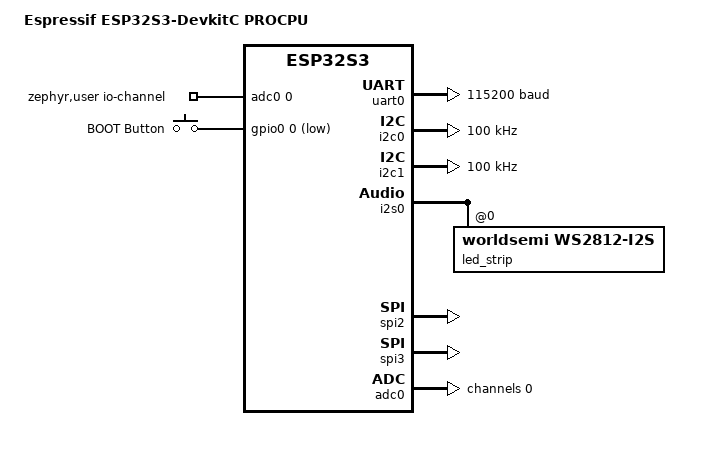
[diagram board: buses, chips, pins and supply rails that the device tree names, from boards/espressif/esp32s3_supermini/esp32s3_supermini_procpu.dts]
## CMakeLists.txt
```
# Copyright (c) 2021 Nordic Semiconductor ASA
# SPDX-License-Identifier: Apache-2.0
#
# This CMake file is picked by the Zephyr build system because it is defined
# as the module CMake entry point (see zephyr/module.yml).
cmake_minimum_required(VERSION 3.22)

# Set board
#set(BOARD my_esp32_devkitc_wroom/esp32/procpu)
set(BOARD esp32s3_supermini/esp32s3/procpu)
set(BOARD_ROOT ${CMAKE_CURRENT_SOURCE_DIR})

# Add zephyr base path
find_package(Zephyr REQUIRED HINTS $ENV{ZEPHYR_BASE})

# Add project name
project(wicked_bubble_fw)

# How to add message on build
#message(STATUS "ZEPHYR_BASE = ${ZEPHYR_BASE}")

# Add include path
zephyr_include_directories(include)

target_sources(app PRIVATE
                src/main.c
                src/thread_msg/message_hmi_main.c
                src/thread_msg/message_main_ledrgb.c
                src/hmi/uart_cmd.c
                src/led_rgb/led_rgb_strip.c
)

target_include_directories(app PRIVATE  src
                                        src/hmi
                                        src/thread_msg
                                        src/led_rgb
)
```

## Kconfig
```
# Copyright (c) 2021 Nordic Semiconductor ASA
# SPDX-License-Identifier: Apache-2.0
#
# This Kconfig file is picked by the Zephyr build system because it is defined
# as the module Kconfig entry point (see zephyr/module.yml). You can browse
# module options by going to Zephyr -> Modules in Kconfig.

source "Kconfig.zephyr"

menu "WS2812 Sample Configuration"

config SAMPLE_LED_UPDATE_DELAY
	int "Delay between LED updates in ms"
	default 5
	help
	  Delay between LED updates in ms.

config SAMPLE_LED_BRIGHTNESS
	int "LED brightness"
	default 5
	range 1 255
	help
	  Brightness level of each LED. Defaults to a low value to make
	  it easier to distinguish colors.

endmenu
```

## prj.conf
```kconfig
# Copyright (c) 2021 Nordic Semiconductor ASA
# SPDX-License-Identifier: Apache-2.0
#
# This file contains selected Kconfig options for the application.

# Config LED GPIO
CONFIG_GPIO=y

# Config ADC
CONFIG_ADC=y

# Config UART HMI
CONFIG_SERIAL=y
CONFIG_UART_INTERRUPT_DRIVEN=y
CONFIG_RING_BUFFER=y

# Bootloader configuration
CONFIG_BOOTLOADER_MCUBOOT=n

CONFIG_I2S=y
# ESP32-S3 SuperMini specific configuration
# Flash size: 4MB
# CONFIG_ESPTOOLPY_FLASHSIZE_4MB=y

# # Flash mode: QIO mode (matches schematic - 4 data lines)
# CONFIG_ESPTOOLPY_FLASHMODE_QIO=y

# # Flash frequency: 40MHz (conservative, reliable setting)
# CONFIG_ESPTOOLPY_FLASHFREQ_40M=y

# # Simple boot configuration for development (no secure boot)
# CONFIG_ESP_SIMPLE_BOOT=y

# # Disable secure features that might cause SHA-256 issues
# CONFIG_ESP32_EFUSE_VIRTUAL=y

# Log configuration
CONFIG_LOG=y
CONFIG_LOG_MODE_DEFERRED=y         # Recommended for performance
CONFIG_LOG_BACKEND_UART=y          # Sends logs over UART

CONFIG_LED_STRIP=y
CONFIG_LED_STRIP_LOG_LEVEL_DBG=y

# LED sample configuration
# CONFIG_SAMPLE_LED_UPDATE_DELAY=250
# CONFIG_SAMPLE_LED_BRIGHTNESS=50
```

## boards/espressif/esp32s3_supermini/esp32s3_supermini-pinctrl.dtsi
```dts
/*
 * Copyright (c) 2024 Espressif Systems (Shanghai) Co., Ltd.
 *
 * SPDX-License-Identifier: Apache-2.0
 */

#include <zephyr/dt-bindings/pinctrl/esp-pinctrl-common.h>
#include <dt-bindings/pinctrl/esp32s3-pinctrl.h>
#include <zephyr/dt-bindings/pinctrl/esp32s3-gpio-sigmap.h>

&pinctrl {
	uart0_default: uart0_default {
		group1 {
			pinmux = <UART0_TX_GPIO43>;
			output-high;
		};
		group2 {
			pinmux = <UART0_RX_GPIO44>;
			bias-pull-up;
		};
	};

	uart1_default: uart1_default {
		group1 {
			pinmux = <UART1_TX_GPIO17>;
			output-high;
		};
		group2 {
			pinmux = <UART1_RX_GPIO18>;
			bias-pull-up;
		};
	};

	i2c0_default: i2c0_default {
	};

	i2c1_default: i2c1_default {
		group1 {
			pinmux = <I2C1_SDA_GPIO4>,
				 <I2C1_SCL_GPIO5>;
			bias-pull-up;
			drive-open-drain;
			output-high;
		};
	};

	i2s0_default: i2s0_default {
		group1 {
			pinmux = <I2S0_MCLK_GPIO4>,
				 <I2S0_O_WS_GPIO5>,
				 <I2S0_O_BCK_GPIO6>,
				 <I2S0_O_SD_GPIO38>,
				 <I2S0_I_WS_GPIO15>,
				 <I2S0_I_BCK_GPIO16>;
			output-enable;
		};
		group2 {
			pinmux = <I2S0_I_SD_GPIO17>;
			input-enable;
		};
	};

	i2s1_default: i2s1_default {
		group1 {
			pinmux = <I2S1_MCLK_GPIO18>,
				 <I2S1_O_WS_GPIO8>,
				 <I2S1_O_BCK_GPIO3>,
				 <I2S1_O_SD_GPIO9>,
				 <I2S1_I_WS_GPIO10>,
				 <I2S1_I_BCK_GPIO11>;
			output-enable;
		};
		group2 {
			pinmux = <I2S1_I_SD_GPIO12>;
			input-enable;
		};
	};

	spim2_default: spim2_default {
		group1 {
			pinmux = <SPIM2_MISO_GPIO13>,
				 <SPIM2_SCLK_GPIO12>,
				 <SPIM2_CSEL_GPIO10>;
		};
		group2 {
			pinmux = <SPIM2_MOSI_GPIO11>;
			output-low;
		};
	};

	spim3_default: spim3_default {
		group1 {
			pinmux = <SPIM3_MISO_GPIO37>,
				 <SPIM3_SCLK_GPIO36>,
				 <SPIM3_CSEL_GPIO38>;
		};
		group2 {
			pinmux = <SPIM3_MOSI_GPIO39>;
			output-low;
		};
	};

	twai_default: twai_default {
		group1 {
			pinmux = <TWAI_TX_GPIO5>,
				<TWAI_RX_GPIO6>;
		};
	};
};
```

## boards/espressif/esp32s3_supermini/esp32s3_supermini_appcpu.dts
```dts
/*
 * Copyright (c) 2024 Espressif Systems (Shanghai) Co., Ltd.
 *
 * SPDX-License-Identifier: Apache-2.0
 */
/dts-v1/;

#include <espressif/esp32s3/esp32s3_wroom_n4.dtsi>
#include <espressif/partitions_0x0_amp.dtsi>
#include "esp32s3_supermini-pinctrl.dtsi"

/ {
	model = "Espressif ESP32S3-DevkitC APPCPU";
	compatible = "espressif,esp32s3";

	chosen {
		zephyr,sram = &sram1;
		zephyr,ipc_shm = &shm0;
		zephyr,ipc = &ipm0;
		zephyr,flash = &flash0;
		zephyr,code-partition = &slot0_appcpu_partition;
	};
};

&trng0 {
	status = "okay";
};

&ipm0 {
	status = "okay";
};
```

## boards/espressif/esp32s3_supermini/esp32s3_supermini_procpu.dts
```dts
/*
 * Copyright (c) 2024 Espressif Systems (Shanghai) Co., Ltd.
 *
 * SPDX-License-Identifier: Apache-2.0
 */
/dts-v1/;

#include <espressif/esp32s3/esp32s3_wroom_n4.dtsi>
#include <zephyr/dt-bindings/input/input-event-codes.h>
#include <espressif/partitions_0x0_amp_4M.dtsi>
#include "esp32s3_supermini-pinctrl.dtsi"

#include <zephyr/dt-bindings/led/led.h>


/ {
	model = "Espressif ESP32S3-DevkitC PROCPU";
	compatible = "espressif,esp32s3";

	aliases {
		i2c-0 = &i2c0;
		led-strip = &led_strip;
		watchdog0 = &wdt0;
		adc0 = &adc0;
	};

	chosen {
		zephyr,sram = &sram1;
		zephyr,console = &uart0;
		zephyr,shell-uart = &uart0;
		zephyr,flash = &flash0;
		zephyr,code-partition = &slot0_partition;
		zephyr,bt-hci = &esp32_bt_hci;
	};

	aliases {
		uart-0 = &uart0;
		sw0 = &button0;
	};

	zephyr,user {
		io-channels = <&adc0 0>;
	};

	buttons {
		compatible = "gpio-keys";
		button0: button_0 {
			gpios = <&gpio0 0 (GPIO_PULL_UP | GPIO_ACTIVE_LOW)>;
			label = "BOOT Button";
			zephyr,code = <INPUT_KEY_0>;
		};
	};
};

&usb_serial {
	status = "disabled";
};

&uart0 {
	status = "okay";
	current-speed = <115200>;
	pinctrl-0 = <&uart0_default>;
	pinctrl-names = "default";
};

&gpio0 {
	status = "okay";
};

&gpio1 {
	status = "okay";
};

&i2c0 {
	clock-frequency = <I2C_BITRATE_STANDARD>;
	pinctrl-0 = <&i2c0_default>;
	pinctrl-names = "default";
};

&i2c1 {
	clock-frequency = <I2C_BITRATE_STANDARD>;
	pinctrl-0 = <&i2c1_default>;
	pinctrl-names = "default";
};

&i2s0 {
	pinctrl-0 = <&i2s0_default>;
	pinctrl-names = "default";
	status = "okay";
};

&spi2 {
	#address-cells = <1>;
	#size-cells = <0>;
	status = "okay";
	pinctrl-0 = <&spim2_default>;
	pinctrl-names = "default";
};

&spi3 {
	#address-cells = <1>;
	#size-cells = <0>;
	status = "okay";
	pinctrl-0 = <&spim3_default>;
	pinctrl-names = "default";
};

&twai {
	pinctrl-0 = <&twai_default>;
	pinctrl-names = "default";
};

&timer0 {
	status = "disabled";
};

&timer1 {
	status = "disabled";
};

&timer2 {
	status = "disabled";
};

&timer3 {
	status = "disabled";
};

&i2s0_default {
	group1 {
		pinmux = <I2S0_O_SD_GPIO38>;
		output-enable;
	};
};

i2s_led: &i2s0 {
	status = "okay";

	dmas = <&dma 3>;
	dma-names = "tx";

	led_strip: ws2812@0 {
		compatible = "worldsemi,ws2812-i2s";

		reg = <0>;
		chain-length = <30>;
		color-mapping = <LED_COLOR_ID_GREEN
				 LED_COLOR_ID_RED
				 LED_COLOR_ID_BLUE>;
		reset-delay = <500>;
	};
};

&dma {
	status = "okay";
};

&adc0 {
	status = "okay";
	#address-cells = <1>;
	#size-cells = <0>;

	channel@0 {
		reg = <0>;
		zephyr,gain = "ADC_GAIN_1_4";
		zephyr,reference = "ADC_REF_INTERNAL";
		zephyr,acquisition-time = <ADC_ACQ_TIME_DEFAULT>;
		zephyr,resolution = <12>;
	};
};
```

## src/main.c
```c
/*
 * Copyright (c) 2021 Nordic Semiconductor ASA
 * SPDX-License-Identifier: Apache-2.0
 */

#include <zephyr/kernel.h>
#include <app_version.h>

#include <errno.h>
#include <string.h>
#include <zephyr/device.h>
#include <zephyr/devicetree.h>

#include <zephyr/logging/log.h>
#include <zephyr/drivers/adc.h>

#include <zephyr/sys/printk.h>
#include <zephyr/sys/util.h>

#include "uart_cmd.h"
#include "led_rgb_strip.h"
#include "message_hmi_main.h"
#include "message_main_ledrgb.h"

// LOG Configuration
#define LOG_LEVEL 4
LOG_MODULE_REGISTER(main);


// ADC Configuration
#if !DT_NODE_EXISTS(DT_PATH(zephyr_user)) || \
	!DT_NODE_HAS_PROP(DT_PATH(zephyr_user), io_channels)
#error "No suitable devicetree overlay specified"
#endif

#define DT_SPEC_AND_COMMA(node_id, prop, idx) \
	ADC_DT_SPEC_GET_BY_IDX(node_id, idx),

/* Data of ADC io-channels specified in devicetree. */
static const struct adc_dt_spec adc_channels[] = {
	DT_FOREACH_PROP_ELEM(DT_PATH(zephyr_user), io_channels,
			     DT_SPEC_AND_COMMA)
};

// Global variables
static bool stomp_signal = false;

void handle_hmi_msg(void)
{
    static struct hmi_msg_t hmi_msg = {};
    if (recv_message_hmi_to_main(&hmi_msg) != 0) {
        return;
    }

    // struct main_to_bubble_msg_t main_to_bubble = {0};
    if (hmi_msg.type == HMI_CMD_STOMP_INC) {
        printk("HMI Command to Main Thread: Stomp Increment: Stomps - %u\n", stomp_signal);
        stomp_signal = true;
        // main_to_bubble.type = MAIN_CMD_BUBBLE_ON;
    } else if (hmi_msg.type == HMI_CMD_ON_SIGNAL) {
        printk("HMI Command to Main Thread: On Signal\n");
        // main_to_bubble.type = MAIN_CMD_BUBBLE_OFF;
    } else if (hmi_msg.type == HMI_CMD_OFF_SIGNAL) {
        printk("HMI Command to Main Thread: Off Signal\n");
        // main_to_bubble.type = MAIN_CMD_BUBBLE_OFF;
    } else if (hmi_msg.type == HMI_CMD_RST_STOMP) {
        stomp_signal = false;
        printk("HMI Command to Main Thread: Reset Stomp: Stomps - %u\n", stomp_signal);
        // main_to_bubble.type = MAIN_CMD_BUBBLE_OFF;
    } else {
        return;
    }
}

void send_msg_main_led_rgb(void)
{
    // only send message if stomp effect is received
    // if (stomp_signal == false) {
    //     return;
    // }

    struct main_to_ledrgb_msg_t msg = {
        .type = MAIN_CMD_LEDRGB_STOMP,
    };

    if (send_message_main_to_ledrgb(&msg) != 0) {
        printk("Failed to send message to LED RGB thread\n");
    } else {
        stomp_signal = false; // Reset stomp signal after sending
    }
}

// ------------- ADC -------------------
// ADC Global variables
static uint32_t count = 0;
static uint16_t buf;
static struct adc_sequence sequence = {
    .buffer = &buf,
    /* buffer size in bytes, not number of samples */
    .buffer_size = sizeof(buf),
};
static const struct adc_dt_spec *adc_channel = &adc_channels[0];

#define STOMP_SIGNAL_ON_THRESHOLD 1500U // mV threshold for stomp signal ON
#define STOMP_SIGNAL_OFF_THRESHOLD 500U // mV threshold for stomp signal OFF

// ADC Static Functions
static void adc_init(void) {
    // ADC INIT
    int err;

    if (!adc_is_ready_dt(adc_channel)) {
        printk("ADC controller device %s not ready\n", adc_channel->dev->name);
        return;
    }

    err = adc_channel_setup_dt(adc_channel);
    if (err < 0) {
        printk("Could not setup ADC channel (%d)\n", err);
        return;
    }
    
    return;
}

static void stomp_sensor_read(void) {
    int err;
    int32_t val_mv;
    printk("ADC reading[%u]:\n", count++);
    printk("- %s, channel %d: ",
            adc_channel->dev->name,
            adc_channel->channel_id);

    (void)adc_sequence_init_dt(adc_channel, &sequence);

    err = adc_read_dt(adc_channel, &sequence);
    if (err < 0) {
        printk("Could not read (%d)\n", err);
        return;
    }

    val_mv = (int32_t)buf;
    err = adc_raw_to_millivolts_dt(adc_channel, &val_mv);
    /* conversion to mV may not be supported, skip if not */
    if (err < 0) {
        printk(" (value in mV not available)\n");
    } else {
        printk("%d mV\n", val_mv);
    }

    if (val_mv > STOMP_SIGNAL_ON_THRESHOLD) {
        stomp_signal = false; // Set stomp signal ON
        printk("Stomp signal ON\n");
    } else if (val_mv < STOMP_SIGNAL_OFF_THRESHOLD) {
        stomp_signal = true; // Set stomp signal OFF
        printk("Stomp signal OFF\n");
    } else {
        printk("Stomp signal unchanged\n");
    }
}

static bool stomp_signal_received(void) {
    // save old stomp signal state
    static bool old_stomp_signal = false;

    if (stomp_signal && !old_stomp_signal) {
        old_stomp_signal = true;
        return true;
    } else if (!stomp_signal && old_stomp_signal) {
        old_stomp_signal = false;
        return false;
    }
    return false;
}

int main(void)
{
    printk("Zephyr Example Application %s\n", APP_VERSION_STRING);

    uart_thread_start();
    led_rgb_thread_start();

    adc_init();


    while (1) {
        handle_hmi_msg();

        // Send message to the LED RGB Thread
        if (stomp_signal_received()) {
            send_msg_main_led_rgb();
        }

        // ADC Reading
        stomp_sensor_read();
    	k_sleep(K_MSEC(10));

        //printk("Main Thread Running\n");
        //k_msleep(50);
    }

    return 0;
}
```
